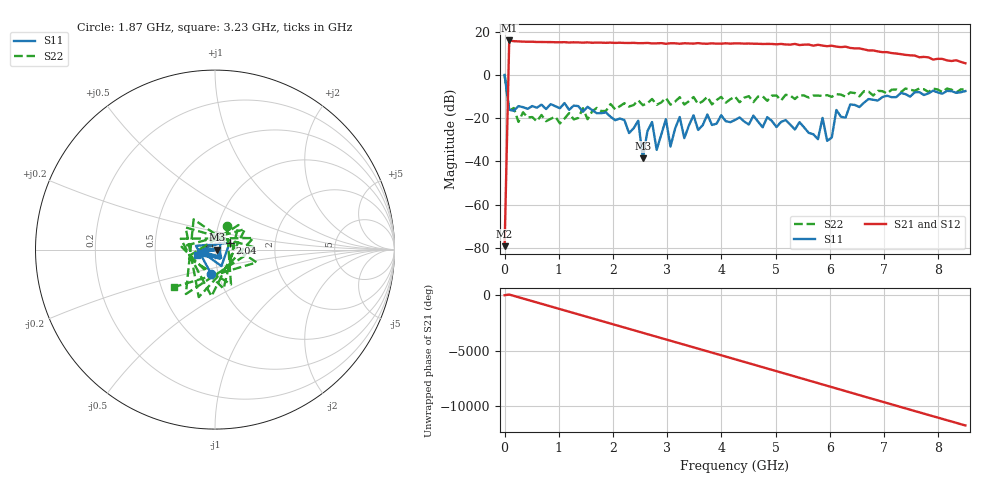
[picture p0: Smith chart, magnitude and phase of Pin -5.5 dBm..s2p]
! RsaToolbox (C) 2013 Rohde & Schwarz America
! Number of points: 101
! Number of ports: 2
! Balanced ports?: 0
# Hz S RI R 50
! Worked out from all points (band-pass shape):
!   101 points, 9 kHz to 8.5 GHz, reference 50 ohm
!   highest |S21| = 16.06 dB at 85.01 MHz (marker M1); lowest = -79.3 dB at 9 kHz (marker M2)
!   |S21| within 3 dB of the highest: 82.34 MHz to 6.171 GHz (6.088 GHz wide, 195 % of centre); 6.24 GHz to 6.308 GHz (67.73 MHz wide, 1.08 % of centre)
!   lowest |S11| = -38.6 dB at 2.55 GHz (marker M3), VSWR 1.02, Z = 51.2 - j0.059 ohm
!   |S11| at or under -10 dB: 53.2 MHz to 6.994 GHz (6.941 GHz wide, 197 % of centre); 7.11 GHz to 7.234 GHz (123.6 MHz wide, 1.72 % of centre)
!   |S22| runs from -22.4 to 0.2 dB; largest |S21 - S12| = 0
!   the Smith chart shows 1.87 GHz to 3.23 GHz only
!   S11 on the Smith chart (normalised r, x): 1.87 GHz: 0.92, -0.25; 2.04 GHz: 1.17, +0.09; 3.23 GHz: 0.81, -0.05
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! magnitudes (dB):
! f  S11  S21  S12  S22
! 9 kHz  0.1  -79.3  -79.3  0.2
! 85.01 MHz  -16.0  16.1  16.1  -16.6
! 1.02 GHz  -15.4  15.2  15.2  -22.4
! 1.445 GHz  -17.0  15.0  15.0  -15.3
! 1.87 GHz  -17.3  15.0  15.0  -16.6
! 2.04 GHz  -20.9  14.9  14.9  -15.9
! 2.465 GHz  -21.1  14.8  14.8  -11.7
! 2.55 GHz  -38.6  14.8  14.8  -14.0
! 2.72 GHz  -21.7  14.7  14.7  -11.1
! 2.805 GHz  -34.6  14.7  14.7  -13.8
! 2.89 GHz  -27.6  14.8  14.8  -12.7
! 2.975 GHz  -20.5  14.5  14.5  -10.6
! 3.06 GHz  -33.1  14.8  14.8  -13.7
! 3.23 GHz  -19.4  14.5  14.5  -10.2
! 3.315 GHz  -29.2  14.8  14.8  -13.6
! 3.485 GHz  -18.6  14.6  14.6  -10.2
! 3.57 GHz  -25.4  14.8  14.8  -13.4
! 4.25 GHz  -20.8  14.7  14.7  -9.9
! 5.695 GHz  -27.4  13.6  13.6  -9.5
! 6.12 GHz  -16.2  13.2  13.2  -8.8
! 7.14 GHz  -10.2  10.2  10.2  -6.8
! 8.5 GHz  -7.4  5.5  5.5  -6.7
